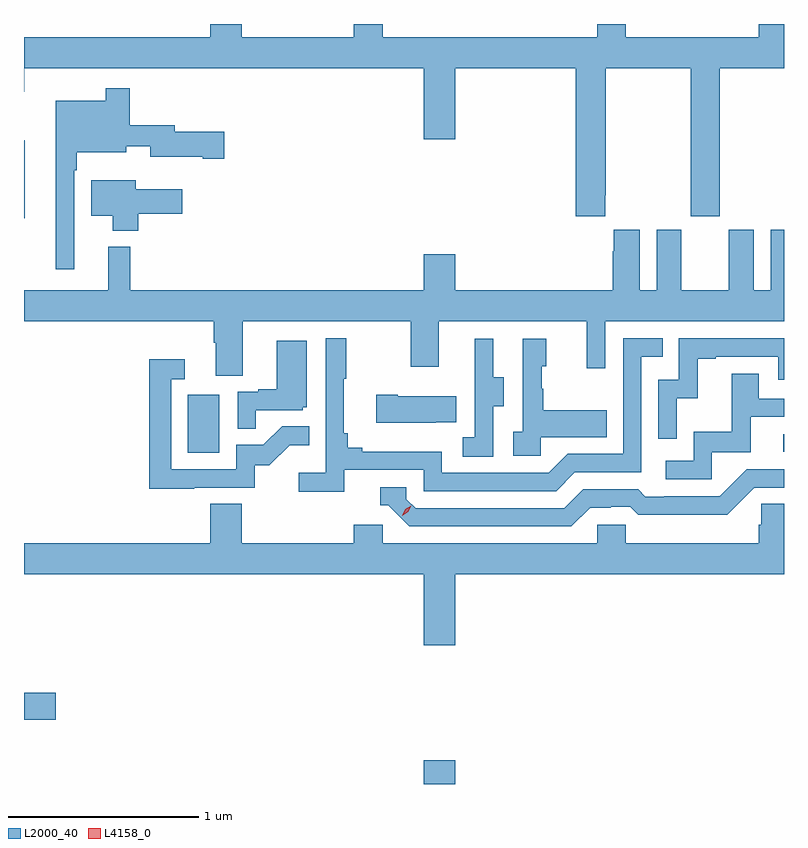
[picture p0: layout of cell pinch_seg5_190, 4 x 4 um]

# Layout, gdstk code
import gdstk
lib = gdstk.Library(unit=1e-6, precision=1e-09)
def R(c, l, rs):  # rectangles x0, y0, x1, y1
    for r in rs: c.add(gdstk.rectangle(r[:2], r[2:], *l))
def P(c, l, *ps):  # polygons
    for p in ps: c.add(gdstk.Polygon(p, *l))
L2000_40 = (2000, 40)
L4158_0 = (4158, 0)

pinch_seg5_190 = lib.new_cell('pinch_seg5_190')
R(pinch_seg5_190, L2000_40, [(1136.036,872.973,1136.2,873.097), (1133.931,873.31,1134.097,873.452), (1134.794,874.716,1134.958,875.023), (1137.927,874.722,1137.931,874.815), (1133.931,875.951,1133.935,876.361)])
P(pinch_seg5_190, L2000_40, [(1136.989,876.073),(1136.994,876.073),(1136.994,876.74),(1137.439,876.74),(1137.439,875.961),(1137.594,875.961),(1137.594,876.74),(1137.931,876.74),(1137.931,876.973),(1137.797,876.973),(1137.797,876.904),(1137.099,876.904),(1137.099,876.973),(1136.949,876.973),(1136.949,876.904),(1135.818,876.904),(1135.818,876.973),(1135.667,876.973),(1135.667,876.904),(1135.076,876.904),(1135.076,876.973),(1134.911,876.973),(1134.911,876.904),(1133.931,876.904),(1133.931,876.617),(1133.932,876.617),(1133.932,876.74),(1136.036,876.74),(1136.036,876.366),(1136.2,876.366),(1136.2,876.74),(1136.834,876.74),(1136.834,875.961),(1136.989,875.961)],
  [(1134.195,876.203),(1134.208,876.203),(1134.208,876.299),(1134.469,876.299),(1134.469,876.329),(1134.596,876.329),(1134.596,876.275),(1134.872,876.275),(1134.872,876.263),(1134.985,876.263),(1134.985,876.405),(1134.724,876.405),(1134.724,876.439),(1134.488,876.439),(1134.488,876.634),(1134.36,876.634),(1134.36,876.568),(1134.098,876.568),(1134.098,875.682),(1134.195,875.682)],
  [(1134.533,875.974),(1134.763,875.974),(1134.763,876.103),(1134.52,876.103),(1134.52,876.151),(1134.284,876.151),(1134.284,875.963),(1134.398,875.963),(1134.398,875.885),(1134.533,875.885)],
  [(1135.081,875.408),(1135.966,875.408),(1135.966,875.169),(1136.113,875.169),(1136.113,875.408),(1136.894,875.408),(1136.894,875.16),(1136.991,875.16),(1136.991,875.408),(1137.931,875.408),(1137.931,875.89),(1137.86,875.89),(1137.86,875.572),(1137.772,875.572),(1137.772,875.89),(1137.641,875.89),(1137.641,875.572),(1137.391,875.572),(1137.391,875.89),(1137.26,875.89),(1137.26,875.572),(1137.172,875.572),(1137.172,875.89),(1137.035,875.89),(1137.035,875.777),(1137.029,875.777),(1137.029,875.572),(1136.2,875.572),(1136.2,875.761),(1136.036,875.761),(1136.036,875.572),(1134.491,875.572),(1134.491,875.8),(1134.374,875.8),(1134.374,875.572),(1133.931,875.572),(1133.931,875.408),(1134.929,875.408),(1134.929,875.296),(1134.941,875.296),(1134.941,875.122),(1135.081,875.122)],
  [(1135.616,874.626),(1136.034,874.626),(1136.034,874.515),(1136.731,874.515),(1136.83,874.614),(1137.18,874.614),(1137.18,875.223),(1137.293,875.223),(1137.293,875.319),(1137.084,875.319),(1137.084,874.71),(1136.793,874.71),(1136.694,874.611),(1136.13,874.611),(1136.13,874.723),(1135.711,874.723),(1135.711,874.742),(1135.634,874.742),(1135.634,874.819),(1135.615,874.819),(1135.615,875.107),(1135.627,875.107),(1135.627,875.32),(1135.518,875.32),(1135.518,874.612),(1135.377,874.612),(1135.377,874.51),(1135.616,874.51)],
  [(1137.366,875.003),(1137.476,875.003),(1137.476,875.211),(1137.571,875.211),(1137.571,875.223),(1137.9,875.223),(1137.9,875.1),(1137.931,875.1),(1137.931,875.319),(1137.378,875.319),(1137.378,875.1),(1137.27,875.1),(1137.27,874.791),(1137.366,874.791)],
  [(1136.652,874.799),(1136.999,874.799),(1136.999,874.939),(1136.665,874.939),(1136.665,875.054),(1136.655,875.054),(1136.655,875.172),(1136.68,875.172),(1136.68,875.317),(1136.556,875.317),(1136.556,874.826),(1136.505,874.826),(1136.505,874.701),(1136.652,874.701)],
  [(1136.4,874.96),(1136.455,874.96),(1136.455,875.115),(1136.401,875.115),(1136.401,875.317),(1136.303,875.317),(1136.303,875.103),(1136.304,875.103),(1136.304,874.799),(1136.241,874.799),(1136.241,874.696),(1136.4,874.696)],
  [(1135.151,874.941),(1135.398,874.941),(1135.398,874.956),(1135.42,874.956),(1135.42,875.305),(1135.262,875.305),(1135.262,875.05),(1135.163,875.05),(1135.163,875.037),(1135.056,875.037),(1135.056,874.843),(1135.151,874.843)],
  [(1134.827,874.533),(1135.146,874.533),(1135.146,874.65),(1135.222,874.65),(1135.329,874.757),(1135.433,874.757),(1135.433,874.856),(1135.289,874.856),(1135.191,874.758),(1135.047,874.758),(1135.047,874.629),(1134.705,874.629),(1134.705,875.103),(1134.778,875.103),(1134.778,875.209),(1134.589,875.209),(1134.589,874.528),(1134.827,874.528)],
  [(1137.552,874.719),(1137.757,874.719),(1137.757,874.905),(1137.931,874.905),(1137.931,875.001),(1137.799,875.001),(1137.799,875.131),(1137.655,875.131),(1137.655,874.828),(1137.456,874.828),(1137.456,874.674),(1137.309,874.674),(1137.309,874.578),(1137.552,874.578)],
  [(1136.099,874.877),(1136.207,874.877),(1136.207,875.014),(1135.897,875.014),(1135.897,875.022),(1135.785,875.022),(1135.785,874.874),(1136.099,874.874)],
  [(1136.911,874.428),(1137.018,874.428),(1137.018,874.431),(1137.121,874.431),(1137.163,874.389),(1137.396,874.389),(1137.396,874.391),(1137.632,874.391),(1137.774,874.533),(1137.931,874.533),(1137.931,874.629),(1137.735,874.629),(1137.594,874.488),(1137.301,874.488),(1137.301,874.485),(1137.202,874.485),(1137.163,874.524),(1136.874,874.524),(1136.775,874.425),(1135.992,874.425),(1135.944,874.473),(1135.944,874.536),(1135.805,874.536),(1135.805,874.44),(1135.848,874.44),(1135.959,874.329),(1136.812,874.329)],
  [(1136.2,874.076),(1137.931,874.076),(1137.931,874.448),(1137.811,874.448),(1137.811,874.338),(1137.797,874.338),(1137.797,874.24),(1137.099,874.24),(1137.099,874.338),(1136.949,874.338),(1136.949,874.24),(1135.818,874.24),(1135.818,874.338),(1135.667,874.338),(1135.667,874.24),(1135.076,874.24),(1135.076,874.448),(1134.911,874.448),(1134.911,874.24),(1133.931,874.24),(1133.931,874.076),(1136.036,874.076),(1136.036,873.702),(1136.2,873.702)])
P(pinch_seg5_190, L4158_0, [(1135.922,874.386),(1135.922,874.386),(1135.938,874.419),(1135.969,874.438),(1135.969,874.438),(1135.969,874.438),(1135.953,874.405),(1135.922,874.386)])

lib.write_gds('pinch_seg5_190.gds')
